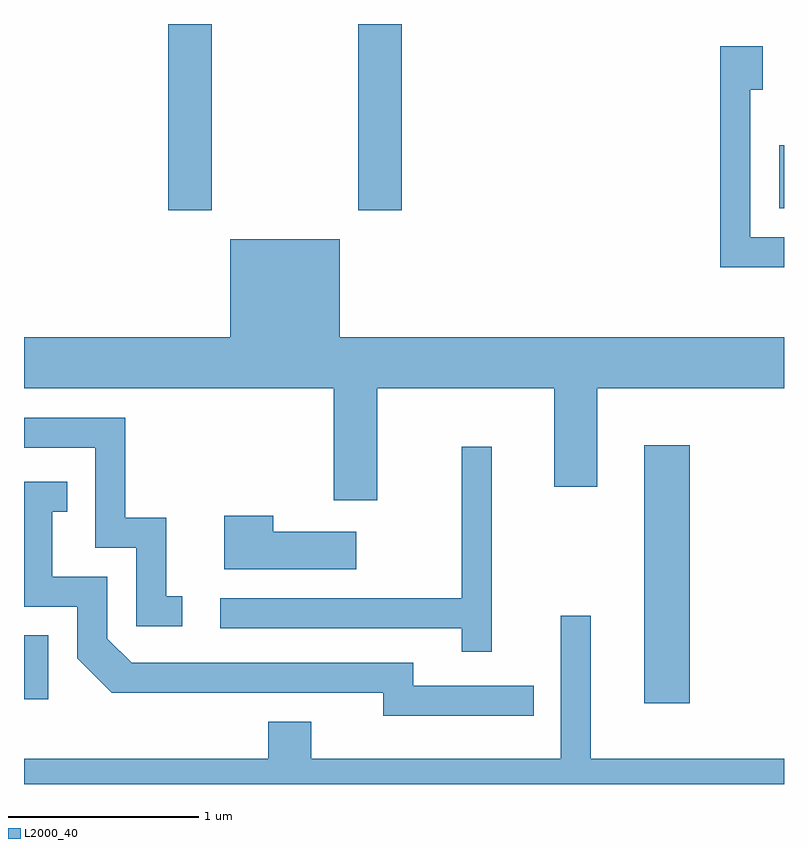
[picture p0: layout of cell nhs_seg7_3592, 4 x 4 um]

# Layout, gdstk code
import gdstk
lib = gdstk.Library(unit=1e-6, precision=1e-09)
def R(c, l, rs):  # rectangles x0, y0, x1, y1
    for r in rs: c.add(gdstk.rectangle(r[:2], r[2:], *l))
def P(c, l, *ps):  # polygons
    for p in ps: c.add(gdstk.Polygon(p, *l))
L2000_40 = (2000, 40)

nhs_seg7_3592 = lib.new_cell('nhs_seg7_3592')
R(nhs_seg7_3592, L2000_40, [(298.876,1692.676,299.114,1694.034), (295.611,1692.698,295.739,1693.034), (296.371,1695.271,296.599,1696.252), (297.371,1695.271,297.599,1696.252), (299.586,1695.281,299.611,1695.614)])
P(nhs_seg7_3592, L2000_40, [(299.611,1695.129),(299.434,1695.129),(299.434,1695.906),(299.499,1695.906),(299.499,1696.134),(299.276,1696.134),(299.276,1694.971),(299.611,1694.971)],
  [(297.469,1694.336),(298.401,1694.336),(298.401,1693.816),(298.629,1693.816),(298.629,1694.336),(299.611,1694.336),(299.611,1694.604),(297.274,1694.604),(297.274,1695.119),(296.696,1695.119),(296.696,1694.604),(295.611,1694.604),(295.611,1694.336),(297.241,1694.336),(297.241,1693.746),(297.469,1693.746)],
  [(296.443,1693.239),(296.359,1693.239),(296.359,1693.654),(296.144,1693.654),(296.144,1694.179),(295.611,1694.179),(295.611,1694.021),(295.986,1694.021),(295.986,1693.496),(296.201,1693.496),(296.201,1693.081),(296.443,1693.081)],
  [(298.074,1694.028),(297.916,1694.028),(297.916,1693.229),(296.643,1693.229),(296.643,1693.071),(297.916,1693.071),(297.916,1692.948),(298.074,1692.948)],
  [(298.293,1692.769),(297.659,1692.769),(297.659,1692.889),(296.177,1692.889),(296.049,1693.017),(296.049,1693.344),(295.759,1693.344),(295.759,1693.686),(295.838,1693.686),(295.838,1693.844),(295.611,1693.844),(295.611,1693.186),(295.891,1693.186),(295.891,1692.914),(296.074,1692.731),(297.501,1692.731),(297.501,1692.611),(298.293,1692.611)],
  [(297.359,1693.579),(296.924,1693.579),(296.924,1693.664),(296.666,1693.664),(296.666,1693.381),(297.359,1693.381)],
  [(298.436,1693.138),(298.436,1692.384),(297.124,1692.384),(297.124,1692.579),(296.896,1692.579),(296.896,1692.384),(295.611,1692.384),(295.611,1692.252),(299.611,1692.252),(299.611,1692.384),(298.594,1692.384),(298.594,1693.138)])

lib.write_gds('nhs_seg7_3592.gds')
